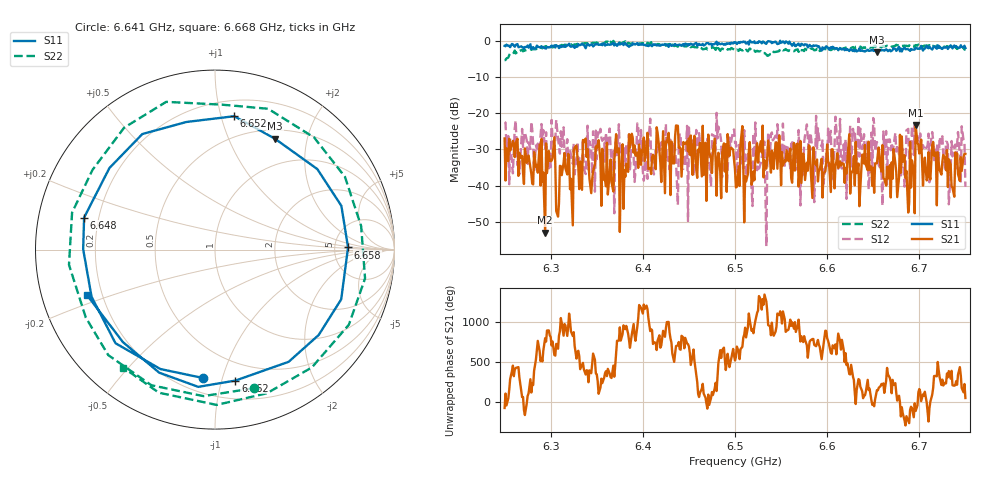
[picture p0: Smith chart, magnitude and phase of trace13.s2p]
# Hz S RI R 50
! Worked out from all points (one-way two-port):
!   401 points, 6.25 GHz to 6.75 GHz, reference 50 ohm
!   highest |S21| = -23.19 dB at 6.696 GHz (marker M1); lowest = -53.1 dB at 6.294 GHz (marker M2)
!   lowest |S11| = -3.1 dB at 6.654 GHz (marker M3), VSWR 5.72, Z = 30.7 + j74.9 ohm
!   |S11| at or under -10 dB: nowhere
!   |S22| runs from -5.2 to 0.1 dB; largest |S21 - S12| = 0.11
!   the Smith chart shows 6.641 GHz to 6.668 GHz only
!   S11 on the Smith chart (normalised r, x): 6.641 GHz: 0.29, -0.87; 6.648 GHz: 0.14, +0.12; 6.652 GHz: 0.32, +1.10; 6.658 GHz: 6.71, +0.37; 6.662 GHz: 0.35, -1.11; 6.668 GHz: 0.14, -0.17
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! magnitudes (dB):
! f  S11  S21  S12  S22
! 6.25 GHz  -1.3  -27.0  -22.4  -5.2
! 6.258 GHz  -0.8  -28.7  -34.0  -3.5
! 6.294 GHz  -2.0  -53.1  -30.0  -1.5
! 6.334 GHz  -0.7  -41.2  -35.9  -0.6
! 6.351 GHz  -0.9  -28.7  -25.3  -0.6
! 6.365 GHz  -1.0  -32.8  -29.4  -0.2
! 6.371 GHz  -0.9  -25.8  -27.0  -0.4
! 6.378 GHz  -0.6  -28.6  -29.1  -0.8
! 6.388 GHz  -1.1  -25.7  -27.0  -0.9
! 6.418 GHz  -1.3  -30.2  -27.9  -0.8
! 6.5 GHz  -0.5  -35.6  -28.2  -2.4
! 6.516 GHz  0.2  -28.0  -28.5  -2.0
! 6.584 GHz  -1.5  -43.5  -30.2  -2.1
! 6.641 GHz  -2.9  -28.8  -30.9  -1.9
! 6.648 GHz  -2.5  -34.7  -25.3  -1.7
! 6.652 GHz  -2.5  -33.9  -30.4  -1.2
! 6.654 GHz  -3.1  -33.9  -27.9  -1.8
! 6.658 GHz  -2.6  -35.0  -35.3  -1.6
! 6.662 GHz  -2.6  -38.2  -31.3  -1.4
! 6.668 GHz  -2.4  -34.4  -27.2  -1.6
! 6.696 GHz  -1.8  -23.2  -26.3  -1.1
! 6.75 GHz  -1.9  -31.2  -40.4  -2.2
